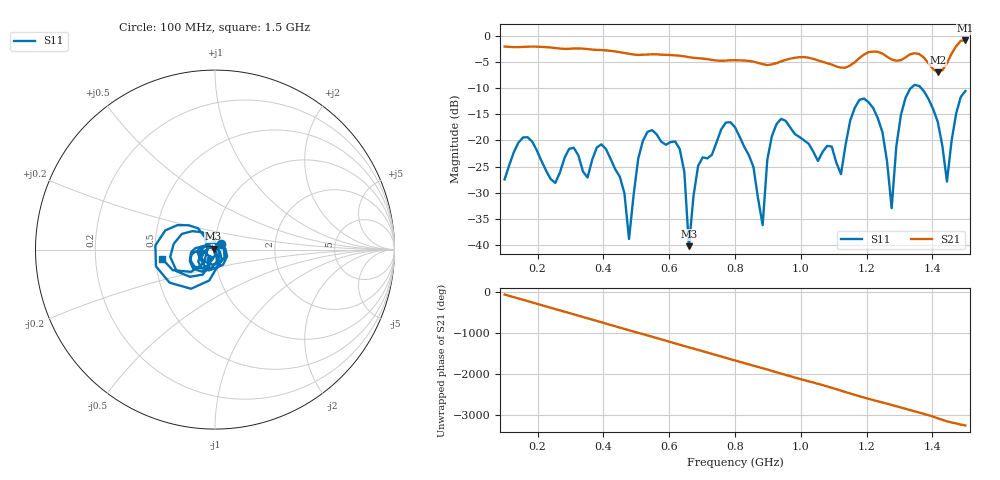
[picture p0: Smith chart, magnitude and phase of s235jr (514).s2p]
! NanoVNA-App
! Date: 2025-09-25 15:08:10
! Start: 100MHz Stop: 1,5GHz Points: 101
! S-Parameter data: F S11 S21 S12 S22
# Hz S RI R 50
!  Frequency  S11_Real  S11_Imag  S21_Real  S21_Imag  S12_Real  S12_Imag  S22_Real  S22_Imag
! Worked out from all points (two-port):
!   101 points, 100 MHz to 1.5 GHz, reference 50 ohm
!   highest |S21| = -0.81 dB at 1.5 GHz (marker M1); lowest = -6.9 dB at 1.416 GHz (marker M2)
!   |S21| within 3 dB of the highest: start of sweep to 640 MHz; 1.186 GHz to 1.259 GHz (73.56 MHz wide, 6.02 % of centre) (the widest 2 of 4)
!   lowest |S11| = -40.3 dB at 660 MHz (marker M3), VSWR 1.02, Z = 49.2 + j0.541 ohm
!   |S11| at or under -10 dB: start of sweep to 1.334 GHz; 1.366 GHz to end of sweep
!   S12 and S22 are empty: the file has one direction only
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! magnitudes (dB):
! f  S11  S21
! 100 MHz  -27.5  -2.0
! 156 MHz  -19.4  -2.0
! 338 MHz  -25.9  -2.4
! 408 MHz  -21.6  -2.7
! 478 MHz  -38.9  -3.4
! 520 MHz  -20.1  -3.5
! 576 MHz  -20.2  -3.5
! 632 MHz  -21.6  -3.7
! 660 MHz  -40.3  -4.0
! 688 MHz  -24.9  -4.2
! 800 MHz  -17.5  -4.6
! 884 MHz  -36.3  -5.4
! 926 MHz  -16.9  -5.2
! 1.038 GHz  -22.2  -4.3
! 1.122 GHz  -26.5  -6.0
! 1.192 GHz  -11.9  -3.5
! 1.248 GHz  -18.4  -3.3
! 1.276 GHz  -33.0  -4.5
! 1.332 GHz  -10.1  -3.5
! 1.416 GHz  -16.4  -6.9
! 1.444 GHz  -27.9  -5.2
! 1.5 GHz  -10.5  -0.8
